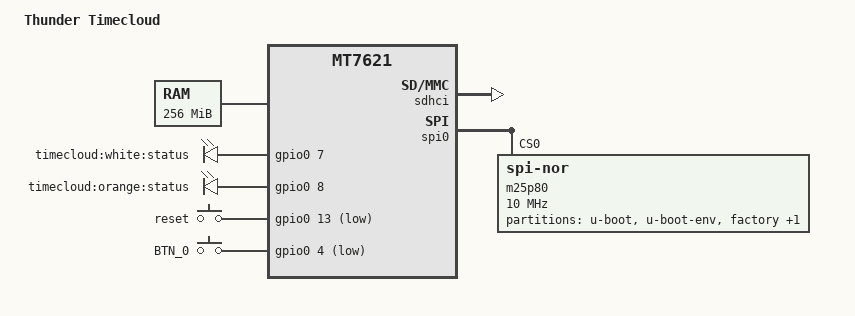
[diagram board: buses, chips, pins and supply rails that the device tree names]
/dts-v1/;

#include "mt7621.dtsi"

#include <dt-bindings/input/input.h>

/ {
	model = "Thunder Timecloud";

	memory@0 {
		device_type = "memory";
		reg = <0x0 0x10000000>;
	};

	chosen {
		bootargs = "console=ttyS0,115200";
	};

	gpio-leds {
		compatible = "gpio-leds";

		statw {
			label = "timecloud:white:status";
			gpios = <&gpio0 7 0>;
		};

		stato {
			label = "timecloud:orange:status";
			gpios = <&gpio0 8 0>;
		};

	};

	gpio-keys-polled {
		compatible = "gpio-keys-polled";
		#address-cells = <1>;
		#size-cells = <0>;
		poll-interval = <20>;

		reset {
			label = "reset";
			gpios = <&gpio0 13 1>;
			linux,code = <KEY_RESTART>;
		};

		BTN_0 {
			label = "BTN_0";
			gpios = <&gpio0 4 1>;
			linux,code = <BTN_0>;
		};
	};
};

&sdhci {
	status = "okay";

	pinctrl-names = "default";
	pinctrl-0 = <&sdhci_pins>;
};

&spi0 {
	status = "okay";

	m25p80@0 {
		#address-cells = <1>;
		#size-cells = <1>;
		compatible = "jedec,spi-nor";
		reg = <0>;
		spi-max-frequency = <10000000>;
		m25p,chunked-io = <32>;

		partition@0 {
			label = "u-boot";
			reg = <0x0 0x30000>;
			read-only;
		};

		partition@30000 {
			label = "u-boot-env";
			reg = <0x30000 0x10000>;
			read-only;
		};

		factory: partition@40000 {
			label = "factory";
			reg = <0x40000 0x10000>;
			read-only;
		};

		partition@50000 {
			label = "firmware";
			reg = <0x50000 0xfb0000>;
		};
	};
};

&ethernet {
	mtd-mac-address = <&factory 0xe000>;
};

&pinctrl {
	state_default: pinctrl0 {
		gpio {
			ralink,group = "i2c", "uart2", "jtag";
			ralink,function = "gpio";
		};
	};
};
